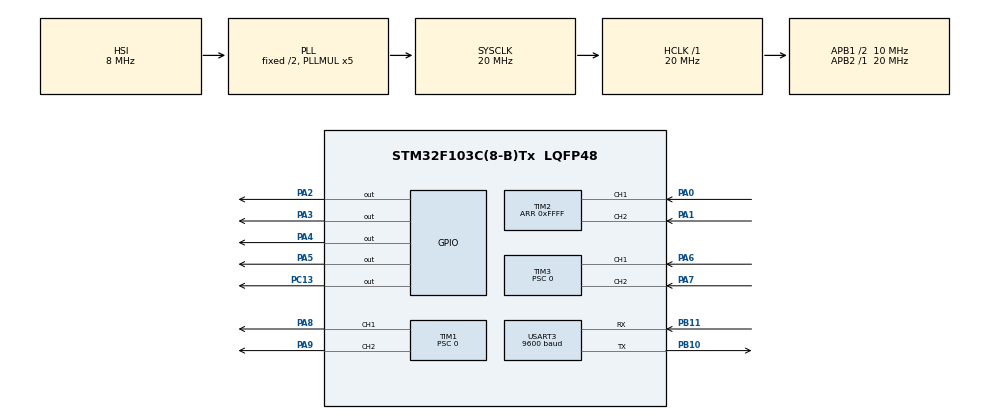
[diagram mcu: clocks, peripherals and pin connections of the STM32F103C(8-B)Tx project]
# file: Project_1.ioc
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Mcu.Family=STM32F1
Mcu.Name=STM32F103C(8-B)Tx
Mcu.Package=LQFP48
NVIC.PriorityGroup=NVIC_PRIORITYGROUP_4
NVIC.USART3_IRQn=true\:0\:0\:false\:false\:true\:true\:true\:true
PA0-WKUP.Signal=S_TIM2_CH1_ETR
PA1.Signal=S_TIM2_CH2
PA13.Mode=Serial_Wire
PA13.Signal=SYS_JTMS-SWDIO
PA14.Mode=Serial_Wire
PA14.Signal=SYS_JTCK-SWCLK
PA2.Signal=GPIO_Output
PA3.Signal=GPIO_Output
PA4.Signal=GPIO_Output
PA5.Signal=GPIO_Output
PA6.Signal=S_TIM3_CH1
PA7.Signal=S_TIM3_CH2
PA8.Signal=S_TIM1_CH1
PA9.Signal=S_TIM1_CH2
PB10.Mode=Asynchronous
PB10.Signal=USART3_TX
PB11.Mode=Asynchronous
PB11.Signal=USART3_RX
PC13-TAMPER-RTC.PinState=GPIO_PIN_SET
PC13-TAMPER-RTC.Signal=GPIO_Output
PD0-OSC_IN.Mode=HSE-External-Oscillator
PD0-OSC_IN.Signal=RCC_OSC_IN
PD1-OSC_OUT.Mode=HSE-External-Oscillator
PD1-OSC_OUT.Signal=RCC_OSC_OUT
ProjectManager.HeapSize=0x200
ProjectManager.StackSize=0x400
ProjectManager.TargetToolchain=STM32CubeIDE
RCC.AHBFreq_Value=20000000
RCC.APB1CLKDivider=RCC_HCLK_DIV2
RCC.APB1Freq_Value=10000000
RCC.APB1TimFreq_Value=20000000
RCC.APB2Freq_Value=20000000
RCC.APB2TimFreq_Value=20000000
RCC.HCLKFreq_Value=20000000
RCC.PLLMUL=RCC_PLL_MUL5
RCC.SYSCLKFreq_VALUE=20000000
RCC.SYSCLKSource=RCC_SYSCLKSOURCE_PLLCLK
RCC.USBFreq_Value=20000000
SH.S_TIM1_CH1.0=TIM1_CH1,PWM Generation1 CH1
SH.S_TIM1_CH2.0=TIM1_CH2,PWM Generation2 CH2
SH.S_TIM2_CH1_ETR.0=TIM2_CH1,Encoder_Interface
SH.S_TIM2_CH2.0=TIM2_CH2,Encoder_Interface
SH.S_TIM3_CH1.0=TIM3_CH1,Encoder_Interface
SH.S_TIM3_CH2.0=TIM3_CH2,Encoder_Interface
TIM1.Channel-PWM\ Generation1\ CH1=TIM_CHANNEL_1
TIM1.Channel-PWM\ Generation2\ CH2=TIM_CHANNEL_2
TIM1.Period=999
TIM1.Prescaler=0
TIM2.EncoderMode=TIM_ENCODERMODE_TI12
TIM2.Period=0xFFFF
TIM3.EncoderMode=TIM_ENCODERMODE_TI12
TIM3.Period=0xFFFF
TIM3.Prescaler=0
USART3.BaudRate=9600
USART3.VirtualMode=VM_ASYNC
VP_TIM1_VS_ClockSourceINT.Mode=Internal
board=custom

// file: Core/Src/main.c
/* USER CODE BEGIN Header */
/**
  ******************************************************************************
  * @file           : main.c
  * @brief          : Main program body
  ******************************************************************************
  * @attention
  *
  * Copyright (c) 2022 STMicroelectronics.
  * All rights reserved.
  *
  * This software is licensed under terms that can be found in the LICENSE file
  * in the root directory of this software component.
  * If no LICENSE file comes with this software, it is provided AS-IS.
  *
  ******************************************************************************
  */
/* USER CODE END Header */
#include "main.h"

TIM_HandleTypeDef htim1;
TIM_HandleTypeDef htim2;
TIM_HandleTypeDef htim3;

UART_HandleTypeDef huart3;

/* USER CODE BEGIN PV */
uint8_t Rx_Buff;
uint8_t UART_buffer[1000];
uint8_t UART_num = 0;
uint8_t UART_flag = 0;
typedef struct
{
	float Kp;
	float Ki;
	float Kd;
	float P_part;
	float I_part;
	float D_part;
	float error;
	float pre_error;
	float out;
}PID;
float en_counter_1 = 0, en_counter_2 = 0, pre_encounter_1 = 0, pre_encounter_2 = 0;
float rate_1 = 0, rate_2 = 0, rate_1_60 = 0, rate_2_60 = 0;
uint32_t time = 0;

void feedback()
{
	en_counter_2 = __HAL_TIM_GET_COUNTER(&htim3);
	en_counter_1 = __HAL_TIM_GET_COUNTER(&htim2);
	if(HAL_GetTick() - time > 1000)
	{
		rate_1 =(en_counter_1 - pre_encounter_1)/374.0;
		rate_1_60 = rate_1 * 15;
		pre_encounter_1 = en_counter_1;
		rate_2 =(en_counter_2 - pre_encounter_2)/374.0;
		rate_2_60 = rate_2 * 15;
		pre_encounter_2 = en_counter_2;
//		return rate_2_60;
		time = HAL_GetTick();
	}

}
void PID_Process(PID *pid, float setpoint, float Kp, float Ki, float Kd, float a)
{
	pid->Kp = Kp;
	pid->Ki = Ki;
	pid->Kd = Kd;
	pid->error = setpoint - a;
	pid->P_part = Kp * pid->error;
	pid->I_part = Ki * (pid->error + pid->pre_error);
	pid->D_part = Kd * (pid->error - pid->pre_error);
	pid->out = pid->P_part + pid->I_part + pid->D_part;
}
uint16_t PID_Set_PWM()
{

}
/* USER CODE END PV */

void SystemClock_Config(void);
static void MX_GPIO_Init(void);
static void MX_TIM3_Init(void);
static void MX_TIM1_Init(void);
static void MX_TIM2_Init(void);
static void MX_USART3_UART_Init(void);

/* USER CODE BEGIN 0 */
void HAL_UART_RxCpltCallback(UART_HandleTypeDef *huart)
{
	if(huart->Instance == huart3.Instance)
	{
		if(UART_num == 0)
		{
			UART_buffer[UART_num] = Rx_Buff;
			UART_num++;
		}
		else
		{
			UART_buffer[UART_num] = Rx_Buff;
			if(UART_buffer[UART_num] == UART_buffer[UART_num - 1])
			{
				UART_num++;
			}
			else
			{
				UART_num = 0;
			}
		}
		HAL_UART_Receive_IT(huart, &Rx_Buff, 1);
	}
}
void UART_Handle()
{
	switch((char)UART_buffer[0])
	{
	case 'F':
		HAL_GPIO_WritePin(GPIOC, GPIO_PIN_13, 0);
		HAL_GPIO_WritePin(GPIOA, GPIO_PIN_2, 0);
		HAL_GPIO_WritePin(GPIOA, GPIO_PIN_3, 1);
		HAL_GPIO_WritePin(GPIOA, GPIO_PIN_4, 0);
		HAL_GPIO_WritePin(GPIOA, GPIO_PIN_5, 1);
		__HAL_TIM_SET_COMPARE(&htim1,TIM_CHANNEL_1,1000);
		__HAL_TIM_SET_COMPARE(&htim1,TIM_CHANNEL_2,1000);
		break;
	case 'B':
		HAL_GPIO_WritePin(GPIOA, GPIO_PIN_2, 1);
		HAL_GPIO_WritePin(GPIOA, GPIO_PIN_3, 0);
		HAL_GPIO_WritePin(GPIOA, GPIO_PIN_4, 1);
		HAL_GPIO_WritePin(GPIOA, GPIO_PIN_5, 0);
		__HAL_TIM_SET_COMPARE(&htim1,TIM_CHANNEL_1,1000);
		__HAL_TIM_SET_COMPARE(&htim1,TIM_CHANNEL_2,1000);
		break;
	case 'L':
		HAL_GPIO_WritePin(GPIOA, GPIO_PIN_2, 0);
		HAL_GPIO_WritePin(GPIOA, GPIO_PIN_3, 1);
		HAL_GPIO_WritePin(GPIOA, GPIO_PIN_4, 0);
		HAL_GPIO_WritePin(GPIOA, GPIO_PIN_5, 0);
		__HAL_TIM_SET_COMPARE(&htim1,TIM_CHANNEL_1,1000);
		__HAL_TIM_SET_COMPARE(&htim1,TIM_CHANNEL_2,1000);
		break;
	case 'R':
		HAL_GPIO_WritePin(GPIOA, GPIO_PIN_2, 0);
		HAL_GPIO_WritePin(GPIOA, GPIO_PIN_3, 0);
		HAL_GPIO_WritePin(GPIOA, GPIO_PIN_4, 0);
		HAL_GPIO_WritePin(GPIOA, GPIO_PIN_5, 1);
		__HAL_TIM_SET_COMPARE(&htim1,TIM_CHANNEL_1,1000);
		__HAL_TIM_SET_COMPARE(&htim1,TIM_CHANNEL_2,1000);
		break;

	case 'I':
		HAL_GPIO_WritePin(GPIOA, GPIO_PIN_2, 0);
		HAL_GPIO_WritePin(GPIOA, GPIO_PIN_3, 1);
		HAL_GPIO_WritePin(GPIOA, GPIO_PIN_4, 0);
		HAL_GPIO_WritePin(GPIOA, GPIO_PIN_5, 1);
		__HAL_TIM_SET_COMPARE(&htim1,TIM_CHANNEL_1,1000);
		__HAL_TIM_SET_COMPARE(&htim1,TIM_CHANNEL_2,700);
		break;
	case 'J':
		HAL_GPIO_WritePin(GPIOA, GPIO_PIN_2, 1);
		HAL_GPIO_WritePin(GPIOA, GPIO_PIN_3, 0);
		HAL_GPIO_WritePin(GPIOA, GPIO_PIN_4, 1);
		HAL_GPIO_WritePin(GPIOA, GPIO_PIN_5, 0);
		__HAL_TIM_SET_COMPARE(&htim1,TIM_CHANNEL_1,1000);
		__HAL_TIM_SET_COMPARE(&htim1,TIM_CHANNEL_2,700);
		break;
	case 'G':
		HAL_GPIO_WritePin(GPIOA, GPIO_PIN_2, 0);
		HAL_GPIO_WritePin(GPIOA, GPIO_PIN_3, 1);
		HAL_GPIO_WritePin(GPIOA, GPIO_PIN_4, 0);
		HAL_GPIO_WritePin(GPIOA, GPIO_PIN_5, 1);
		__HAL_TIM_SET_COMPARE(&htim1,TIM_CHANNEL_1,700);
		__HAL_TIM_SET_COMPARE(&htim1,TIM_CHANNEL_2,1000);
		break;
	case 'H':
		HAL_GPIO_WritePin(GPIOA, GPIO_PIN_2, 1);
		HAL_GPIO_WritePin(GPIOA, GPIO_PIN_3, 0);
		HAL_GPIO_WritePin(GPIOA, GPIO_PIN_4, 1);
		HAL_GPIO_WritePin(GPIOA, GPIO_PIN_5, 0);
		__HAL_TIM_SET_COMPARE(&htim1,TIM_CHANNEL_1,700);
		__HAL_TIM_SET_COMPARE(&htim1,TIM_CHANNEL_2,1000);
		break;
	default:
		HAL_GPIO_WritePin(GPIOA, GPIO_PIN_2, 0);
		HAL_GPIO_WritePin(GPIOA, GPIO_PIN_3, 0);
		HAL_GPIO_WritePin(GPIOA, GPIO_PIN_4, 0);
		HAL_GPIO_WritePin(GPIOA, GPIO_PIN_5, 0);
		break;
	}
}
/* USER CODE END 0 */

int main(void)
{

  /* MCU Configuration--------------------------------------------------------*/

  /* Reset of all peripherals, Initializes the Flash interface and the Systick. */
  HAL_Init();

  /* Configure the system clock */
  SystemClock_Config();

  /* Initialize all configured peripherals */
  MX_GPIO_Init();
  MX_TIM3_Init();
  MX_TIM1_Init();
  MX_TIM2_Init();
  MX_USART3_UART_Init();
  /* USER CODE BEGIN 2 */
  HAL_UART_Receive_IT(&huart3, &Rx_Buff, 1);
  HAL_TIM_PWM_Start(&htim1, TIM_CHANNEL_1);
  HAL_TIM_PWM_Start(&htim1, TIM_CHANNEL_2);
  HAL_TIM_Encoder_Start(&htim2, TIM_CHANNEL_1 | TIM_CHANNEL_2);
  HAL_TIM_Encoder_Start(&htim3, TIM_CHANNEL_1 | TIM_CHANNEL_2);
  /* USER CODE END 2 */

  /* Infinite loop */
  while (1)
  {

    /* USER CODE BEGIN 3 */
	  UART_Handle();

  }
  /* USER CODE END 3 */
}

void SystemClock_Config(void)
{
  RCC_OscInitTypeDef RCC_OscInitStruct = {0};
  RCC_ClkInitTypeDef RCC_ClkInitStruct = {0};

  /** Initializes the RCC Oscillators according to the specified parameters
  * in the RCC_OscInitTypeDef structure.
  */
  RCC_OscInitStruct.OscillatorType = RCC_OSCILLATORTYPE_HSI;
  RCC_OscInitStruct.HSIState = RCC_HSI_ON;
  RCC_OscInitStruct.HSICalibrationValue = RCC_HSICALIBRATION_DEFAULT;
  RCC_OscInitStruct.PLL.PLLState = RCC_PLL_ON;
  RCC_OscInitStruct.PLL.PLLSource = RCC_PLLSOURCE_HSI_DIV2;
  RCC_OscInitStruct.PLL.PLLMUL = RCC_PLL_MUL5;
  if (HAL_RCC_OscConfig(&RCC_OscInitStruct) != HAL_OK)
  {
    Error_Handler();
  }

  /** Initializes the CPU, AHB and APB buses clocks
  */
  RCC_ClkInitStruct.ClockType = RCC_CLOCKTYPE_HCLK|RCC_CLOCKTYPE_SYSCLK
                              |RCC_CLOCKTYPE_PCLK1|RCC_CLOCKTYPE_PCLK2;
  RCC_ClkInitStruct.SYSCLKSource = RCC_SYSCLKSOURCE_PLLCLK;
  RCC_ClkInitStruct.AHBCLKDivider = RCC_SYSCLK_DIV1;
  RCC_ClkInitStruct.APB1CLKDivider = RCC_HCLK_DIV2;
  RCC_ClkInitStruct.APB2CLKDivider = RCC_HCLK_DIV1;

  if (HAL_RCC_ClockConfig(&RCC_ClkInitStruct, FLASH_LATENCY_0) != HAL_OK)
  {
    Error_Handler();
  }
}

static void MX_TIM1_Init(void)
{

  TIM_ClockConfigTypeDef sClockSourceConfig = {0};
  TIM_MasterConfigTypeDef sMasterConfig = {0};
  TIM_OC_InitTypeDef sConfigOC = {0};
  TIM_BreakDeadTimeConfigTypeDef sBreakDeadTimeConfig = {0};

  htim1.Instance = TIM1;
  htim1.Init.Prescaler = 0;
  htim1.Init.CounterMode = TIM_COUNTERMODE_UP;
  htim1.Init.Period = 999;
  htim1.Init.ClockDivision = TIM_CLOCKDIVISION_DIV1;
  htim1.Init.RepetitionCounter = 0;
  htim1.Init.AutoReloadPreload = TIM_AUTORELOAD_PRELOAD_DISABLE;
  if (HAL_TIM_Base_Init(&htim1) != HAL_OK)
  {
    Error_Handler();
  }
  sClockSourceConfig.ClockSource = TIM_CLOCKSOURCE_INTERNAL;
  if (HAL_TIM_ConfigClockSource(&htim1, &sClockSourceConfig) != HAL_OK)
  {
    Error_Handler();
  }
  if (HAL_TIM_PWM_Init(&htim1) != HAL_OK)
  {
    Error_Handler();
  }
  sMasterConfig.MasterOutputTrigger = TIM_TRGO_RESET;
  sMasterConfig.MasterSlaveMode = TIM_MASTERSLAVEMODE_DISABLE;
  if (HAL_TIMEx_MasterConfigSynchronization(&htim1, &sMasterConfig) != HAL_OK)
  {
    Error_Handler();
  }
  sConfigOC.OCMode = TIM_OCMODE_PWM1;
  sConfigOC.Pulse = 0;
  sConfigOC.OCPolarity = TIM_OCPOLARITY_HIGH;
  sConfigOC.OCNPolarity = TIM_OCNPOLARITY_HIGH;
  sConfigOC.OCFastMode = TIM_OCFAST_DISABLE;
  sConfigOC.OCIdleState = TIM_OCIDLESTATE_RESET;
  sConfigOC.OCNIdleState = TIM_OCNIDLESTATE_RESET;
  if (HAL_TIM_PWM_ConfigChannel(&htim1, &sConfigOC, TIM_CHANNEL_1) != HAL_OK)
  {
    Error_Handler();
  }
  if (HAL_TIM_PWM_ConfigChannel(&htim1, &sConfigOC, TIM_CHANNEL_2) != HAL_OK)
  {
    Error_Handler();
  }
  sBreakDeadTimeConfig.OffStateRunMode = TIM_OSSR_DISABLE;
  sBreakDeadTimeConfig.OffStateIDLEMode = TIM_OSSI_DISABLE;
  sBreakDeadTimeConfig.LockLevel = TIM_LOCKLEVEL_OFF;
  sBreakDeadTimeConfig.DeadTime = 0;
  sBreakDeadTimeConfig.BreakState = TIM_BREAK_DISABLE;
  sBreakDeadTimeConfig.BreakPolarity = TIM_BREAKPOLARITY_HIGH;
  sBreakDeadTimeConfig.AutomaticOutput = TIM_AUTOMATICOUTPUT_DISABLE;
  if (HAL_TIMEx_ConfigBreakDeadTime(&htim1, &sBreakDeadTimeConfig) != HAL_OK)
  {
    Error_Handler();
  }
  HAL_TIM_MspPostInit(&htim1);

}

static void MX_TIM2_Init(void)
{

  TIM_Encoder_InitTypeDef sConfig = {0};
  TIM_MasterConfigTypeDef sMasterConfig = {0};

  htim2.Instance = TIM2;
  htim2.Init.Prescaler = 0;
  htim2.Init.CounterMode = TIM_COUNTERMODE_UP;
  htim2.Init.Period = 0xFFFF;
  htim2.Init.ClockDivision = TIM_CLOCKDIVISION_DIV1;
  htim2.Init.AutoReloadPreload = TIM_AUTORELOAD_PRELOAD_DISABLE;
  sConfig.EncoderMode = TIM_ENCODERMODE_TI12;
  sConfig.IC1Polarity = TIM_ICPOLARITY_RISING;
  sConfig.IC1Selection = TIM_ICSELECTION_DIRECTTI;
  sConfig.IC1Prescaler = TIM_ICPSC_DIV1;
  sConfig.IC1Filter = 0;
  sConfig.IC2Polarity = TIM_ICPOLARITY_RISING;
  sConfig.IC2Selection = TIM_ICSELECTION_DIRECTTI;
  sConfig.IC2Prescaler = TIM_ICPSC_DIV1;
  sConfig.IC2Filter = 0;
  if (HAL_TIM_Encoder_Init(&htim2, &sConfig) != HAL_OK)
  {
    Error_Handler();
  }
  sMasterConfig.MasterOutputTrigger = TIM_TRGO_RESET;
  sMasterConfig.MasterSlaveMode = TIM_MASTERSLAVEMODE_DISABLE;
  if (HAL_TIMEx_MasterConfigSynchronization(&htim2, &sMasterConfig) != HAL_OK)
  {
    Error_Handler();
  }

}

static void MX_TIM3_Init(void)
{

  TIM_Encoder_InitTypeDef sConfig = {0};
  TIM_MasterConfigTypeDef sMasterConfig = {0};

  htim3.Instance = TIM3;
  htim3.Init.Prescaler = 0;
  htim3.Init.CounterMode = TIM_COUNTERMODE_UP;
  htim3.Init.Period = 0xFFFF;
  htim3.Init.ClockDivision = TIM_CLOCKDIVISION_DIV1;
  htim3.Init.AutoReloadPreload = TIM_AUTORELOAD_PRELOAD_DISABLE;
  sConfig.EncoderMode = TIM_ENCODERMODE_TI12;
  sConfig.IC1Polarity = TIM_ICPOLARITY_RISING;
  sConfig.IC1Selection = TIM_ICSELECTION_DIRECTTI;
  sConfig.IC1Prescaler = TIM_ICPSC_DIV1;
  sConfig.IC1Filter = 0;
  sConfig.IC2Polarity = TIM_ICPOLARITY_RISING;
  sConfig.IC2Selection = TIM_ICSELECTION_DIRECTTI;
  sConfig.IC2Prescaler = TIM_ICPSC_DIV1;
  sConfig.IC2Filter = 0;
  if (HAL_TIM_Encoder_Init(&htim3, &sConfig) != HAL_OK)
  {
    Error_Handler();
  }
  sMasterConfig.MasterOutputTrigger = TIM_TRGO_RESET;
  sMasterConfig.MasterSlaveMode = TIM_MASTERSLAVEMODE_DISABLE;
  if (HAL_TIMEx_MasterConfigSynchronization(&htim3, &sMasterConfig) != HAL_OK)
  {
    Error_Handler();
  }

}

static void MX_USART3_UART_Init(void)
{

  huart3.Instance = USART3;
  huart3.Init.BaudRate = 9600;
  huart3.Init.WordLength = UART_WORDLENGTH_8B;
  huart3.Init.StopBits = UART_STOPBITS_1;
  huart3.Init.Parity = UART_PARITY_NONE;
  huart3.Init.Mode = UART_MODE_TX_RX;
  huart3.Init.HwFlowCtl = UART_HWCONTROL_NONE;
  huart3.Init.OverSampling = UART_OVERSAMPLING_16;
  if (HAL_UART_Init(&huart3) != HAL_OK)
  {
    Error_Handler();
  }

}

static void MX_GPIO_Init(void)
{
  GPIO_InitTypeDef GPIO_InitStruct = {0};

  /* GPIO Ports Clock Enable */
  __HAL_RCC_GPIOC_CLK_ENABLE();
  __HAL_RCC_GPIOD_CLK_ENABLE();
  __HAL_RCC_GPIOA_CLK_ENABLE();
  __HAL_RCC_GPIOB_CLK_ENABLE();

  /*Configure GPIO pin Output Level */
  HAL_GPIO_WritePin(GPIOC, GPIO_PIN_13, GPIO_PIN_SET);

  /*Configure GPIO pin Output Level */
  HAL_GPIO_WritePin(GPIOA, GPIO_PIN_2|GPIO_PIN_3|GPIO_PIN_4|GPIO_PIN_5, GPIO_PIN_RESET);

  /*Configure GPIO pin : PC13 */
  GPIO_InitStruct.Pin = GPIO_PIN_13;
  GPIO_InitStruct.Mode = GPIO_MODE_OUTPUT_PP;
  GPIO_InitStruct.Pull = GPIO_NOPULL;
  GPIO_InitStruct.Speed = GPIO_SPEED_FREQ_LOW;
  HAL_GPIO_Init(GPIOC, &GPIO_InitStruct);

  /*Configure GPIO pins : PA2 PA3 PA4 PA5 */
  GPIO_InitStruct.Pin = GPIO_PIN_2|GPIO_PIN_3|GPIO_PIN_4|GPIO_PIN_5;
  GPIO_InitStruct.Mode = GPIO_MODE_OUTPUT_PP;
  GPIO_InitStruct.Pull = GPIO_NOPULL;
  GPIO_InitStruct.Speed = GPIO_SPEED_FREQ_LOW;
  HAL_GPIO_Init(GPIOA, &GPIO_InitStruct);

}

void Error_Handler(void)
{
  __disable_irq();
  while (1)
  {
  }
}
